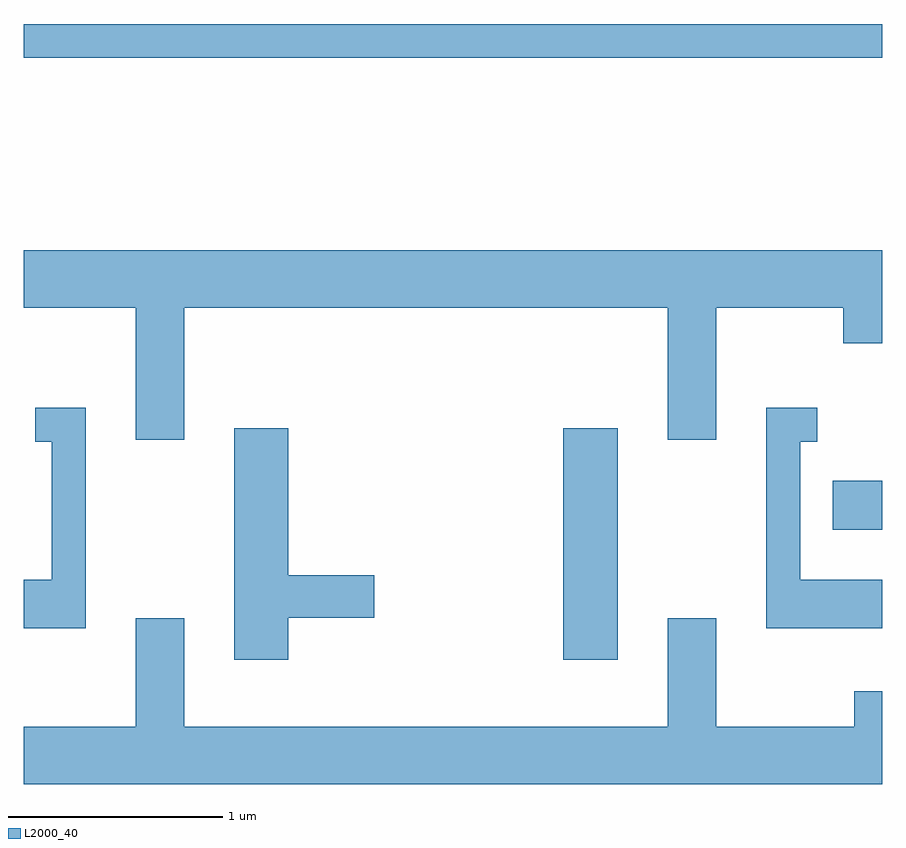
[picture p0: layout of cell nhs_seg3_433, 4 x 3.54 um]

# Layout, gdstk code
import gdstk
lib = gdstk.Library(unit=1e-6, precision=1e-09)
def R(c, l, rs):  # rectangles x0, y0, x1, y1
    for r in rs: c.add(gdstk.rectangle(r[:2], r[2:], *l))
def P(c, l, *ps):  # polygons
    for p in ps: c.add(gdstk.Polygon(p, *l))
L2000_40 = (2000, 40)

nhs_seg3_433 = lib.new_cell('nhs_seg3_433')
R(nhs_seg3_433, L2000_40, [(200.126,1166.556,200.379,1167.634), (201.381,1167.161,201.611,1167.389), (197.611,1169.361,201.611,1169.519)])
P(nhs_seg3_433, L2000_40, [(198.359,1168.196),(200.611,1168.196),(200.611,1167.581),(200.839,1167.581),(200.839,1168.196),(201.431,1168.196),(201.431,1168.031),(201.611,1168.031),(201.611,1168.464),(197.611,1168.464),(197.611,1168.196),(198.131,1168.196),(198.131,1167.581),(198.359,1167.581)],
  [(197.899,1167.729),(197.663,1167.729),(197.663,1167.571),(197.741,1167.571),(197.741,1166.929),(197.611,1166.929),(197.611,1166.701),(197.899,1166.701)],
  [(201.611,1166.929),(201.229,1166.929),(201.229,1167.571),(201.308,1167.571),(201.308,1167.729),(201.071,1167.729),(201.071,1166.701),(201.611,1166.701)],
  [(198.844,1166.751),(199.244,1166.751),(199.244,1166.949),(198.844,1166.949),(198.844,1167.634),(198.591,1167.634),(198.591,1166.556),(198.844,1166.556)],
  [(201.611,1166.409),(201.481,1166.409),(201.481,1166.244),(200.839,1166.244),(200.839,1166.749),(200.611,1166.749),(200.611,1166.244),(198.359,1166.244),(198.359,1166.749),(198.131,1166.749),(198.131,1166.244),(197.611,1166.244),(197.611,1165.976),(201.611,1165.976)])

lib.write_gds('nhs_seg3_433.gds')
